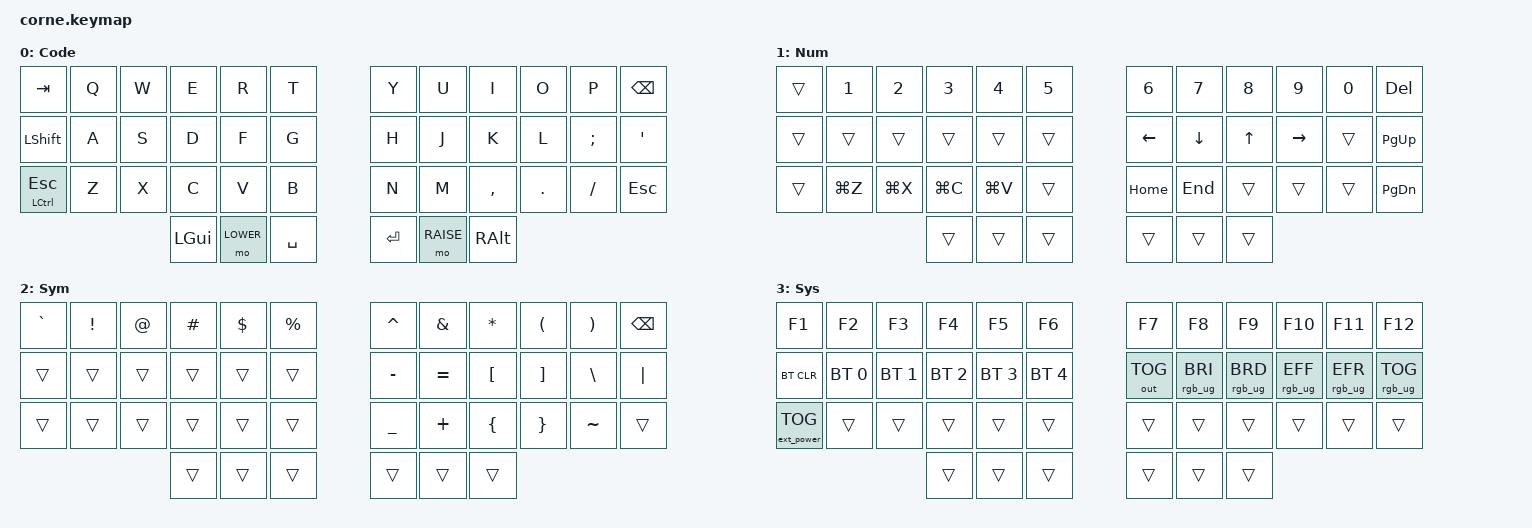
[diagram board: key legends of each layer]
#include <behaviors.dtsi>
#include <dt-bindings/zmk/keys.h>
#include <dt-bindings/zmk/bt.h>
#include <dt-bindings/zmk/outputs.h>
#include <dt-bindings/zmk/ext_power.h>
#include <dt-bindings/led/led.h>
#include <dt-bindings/zmk/backlight.h>
#include <dt-bindings/zmk/rgb.h>
#include <dt-bindings/zmk/reset.h>



#define DEFAULT 0
#define LOWER   1
#define RAISE   2
#define ADJUST  3

/*
 * Cấu hình dải LED RGB Underglow
 * - chain-length = <27>: Tổng số LED trên mỗi bên là 27 (6 WS2812B + 21 SK6812 Mini-E).
 *   Tổng cộng cả bàn phím là 54 LED (27 mỗi bên).
 */
&led_strip {
    chain-length = <27>;
};

/ {
    /* TẠO LOGIC NHẤN CẢ 2 LAYER ĐỂ RA LAYER 3 */
    conditional_layers {
        compatible = "zmk,conditional-layers";
        tri_layer {
            if-layers = <LOWER RAISE>;
            then-layer = <ADJUST>;
        };
    };

    /* TÙY CHỈNH HÀNH VI PHÍM (BEHAVIORS) */
    behaviors {
        /*
         * td_caps: Tap Dance
         * - Gõ 1 cái: Shift trái (dùng viết hoa nhanh)
         * - Gõ 2 cái: Caps Lock (khóa viết hoa)
         */
        td_caps: tap_dance_caps {
            compatible = "zmk,behavior-tap-dance";
            #binding-cells = <0>;
            tapping-term-ms = <200>;
            bindings = <&kp LSHFT>, <&kp CAPS>;
        };

        /*
         * mt_ctrl_esc: Mod-Tap (Dành cho Vim)
         * - Gõ nhẹ (Tap): ESC (Thoát Vim Mode)
         * - Giữ (Hold): CTRL (Dùng tổ hợp phím)
         * Đặt ở vị trí trái chữ A (Capslock cũ) là chuẩn bài nhất.
         */
        mt_ctrl_esc: mt_ctrl_esc {
            compatible = "zmk,behavior-hold-tap";
            #binding-cells = <2>;
            flavor = "tap-preferred";
            tapping-term-ms = <200>;
            quick-tap-ms = <150>;
            bindings = <&kp>, <&kp>;
        };
    };

    keymap {
        compatible = "zmk,keymap";

        /* * LAYER 0: DEFAULT (QWERTY) 
         * - Trái A: Shift trái (hoặc Capslock nếu gõ 2 lần)
         * - Trái Z: Là phím đa năng ESC/CTRL (Code Vim cực sướng)
         * - Ngón cái trái: GUI (Windows/Super) cho BSPWM
         */
        default_layer {
            display-name = "Code";
            bindings = <
&kp TAB       &kp Q  &kp W  &kp E  &kp R  &kp T     &kp Y  &kp U  &kp I      &kp O    &kp P     &kp BSPC
&kp LSHFT &kp A  &kp S  &kp D  &kp F  &kp G     &kp H  &kp J  &kp K      &kp L    &kp SEMI  &kp SQT
&mt_ctrl_esc LCTRL ESC   &kp Z  &kp X  &kp C  &kp V  &kp B     &kp N  &kp M  &kp COMMA  &kp DOT  &kp FSLH  &kp ESC
                     &kp LGUI &mo LOWER &kp SPACE   &kp RET &mo RAISE &kp RALT
            >;
        };

        /* * LAYER 1: LOWER (NAVIGATION & NUMBER)
         * - Tay phải: HJKL biến thành Mũi tên (Vim Motion)
         * - Tay trái: Hàng số 1-5
         * - Hàng dưới: Các lệnh thao tác text
         */
        lower_layer {
            display-name = "Num";
            bindings = <
&trans  &kp N1     &kp N2     &kp N3     &kp N4     &kp N5       &kp N6    &kp N7    &kp N8    &kp N9     &kp N0    &kp DEL
&trans  &trans     &trans     &trans     &trans     &trans       &kp LEFT  &kp DOWN  &kp UP    &kp RIGHT  &trans    &kp PG_UP
&trans  &kp LG(Z)  &kp LG(X)  &kp LG(C)  &kp LG(V)  &trans       &kp HOME  &kp END   &trans    &trans     &trans    &kp PG_DN
                   &trans     &trans     &trans       &trans    &trans    &trans
            >;
        };

        /* * LAYER 2: RAISE (SYMBOLS FOR CODING)
         * - Tối ưu cho Coder: Ngoặc (), [], {} nằm cạnh nhau dễ nhớ
         * - Các dấu toán học - = + _ nằm bên phải
         */
        raise_layer {
            display-name = "Sym";
            bindings = <
&kp GRAVE &kp EXCL  &kp AT    &kp HASH  &kp DLLR  &kp PRCNT    &kp CARET &kp AMPS  &kp STAR  &kp LPAR  &kp RPAR  &kp BSPC
&trans    &trans    &trans    &trans    &trans    &trans       &kp MINUS &kp EQUAL &kp LBKT  &kp RBKT  &kp BSLH  &kp PIPE
&trans    &trans    &trans    &trans    &trans    &trans       &kp UNDER &kp PLUS  &kp LBRC  &kp RBRC  &kp TILDE &trans
                    &trans    &trans    &trans       &trans    &trans    &trans
            >;
        };

        /* * LAYER 3: ADJUST (SYSTEM)
         * - Giữ cả LOWER + RAISE để vào
         * - Chỉnh Bluetooth, F-Keys
         */
        adjust_layer {
            display-name = "Sys";
            bindings = <
&kp F1            &kp F2           &kp F3           &kp F4           &kp F5           &kp F6             &kp F7           &kp F8        &kp F9        &kp F10      &kp F11 &kp F12
&bt BT_CLR        &bt BT_SEL 0     &bt BT_SEL 1     &bt BT_SEL 2     &bt BT_SEL 3     &bt BT_SEL 4       &out OUT_TOG     &rgb_ug RGB_BRI &rgb_ug RGB_BRD &rgb_ug RGB_EFF  &rgb_ug RGB_EFR  &rgb_ug RGB_TOG
&ext_power EP_TOG   &trans             &trans           &trans        &trans         &trans             &trans           &trans        &trans        &trans       &trans  &trans
                                                    &trans           &trans           &trans             &trans           &trans        &trans
            >;
        };
    };
};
